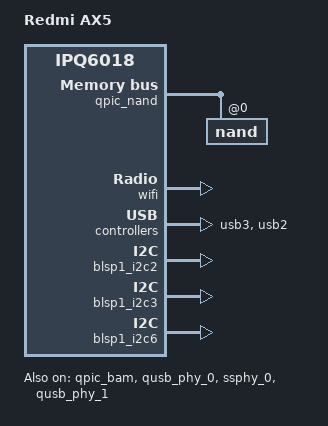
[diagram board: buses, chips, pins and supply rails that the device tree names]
// SPDX-License-Identifier: GPL-2.0-or-later OR MIT

/dts-v1/;

#include "ipq6000-xiaomi.dtsi"

/ {
	model = "Redmi AX5";
	compatible = "xiaomi,rm1800", "qcom,ipq6018";

	chosen {
		/* UART3 改作双工板端口：去掉内核 console，避免串口混流 */
		/delete-property/ stdout-path;
		bootargs-append = " root=/dev/ubiblock0_1";
		bootargs-find-1 = "console=ttyMSM0,115200n8";
		bootargs-replace-1 = "console=";
		bootargs-find-2 = "console=ttyMSM0";
		bootargs-replace-2 = "console=";
	};
};

/* 普通版 AX5：128MB NAND，分区表由 U-Boot 通过 smem 传入 */
&qpic_bam {
	status = "okay";
};

&qpic_nand {
	status = "okay";

	nand@0 {
		reg = <0>;
		nand-ecc-strength = <4>;
		nand-ecc-step-size = <512>;
		nand-bus-width = <8>;

		partitions {
			compatible = "qcom,smem-part";
		};
	};
};

/* 普通版没有 eMMC，保持关闭 */
&sdhc {
	status = "disabled";
};

&wifi {
	qcom,ath11k-fw-memory-mode = <2>;
};

/* USB 3.0：SoC 的 USB0 控制器（qusb2 HS PHY + QMP SS PHY） */
&qusb_phy_0 {
	status = "okay";
};

&ssphy_0 {
	status = "okay";
};

&usb3 {
	status = "okay";
};

/* USB 2.0：SoC 的 USB1 控制器（仅 HS） */
&qusb_phy_1 {
	status = "okay";
};

&usb2 {
	status = "okay";
};

/* CPU 自带的 BLSP I2C 总线（可接 OLED / RTC 等外设） */
&blsp1_i2c2 {
	status = "okay";
};

&blsp1_i2c3 {
	status = "okay";
};

&blsp1_i2c6 {
	status = "okay";
};
